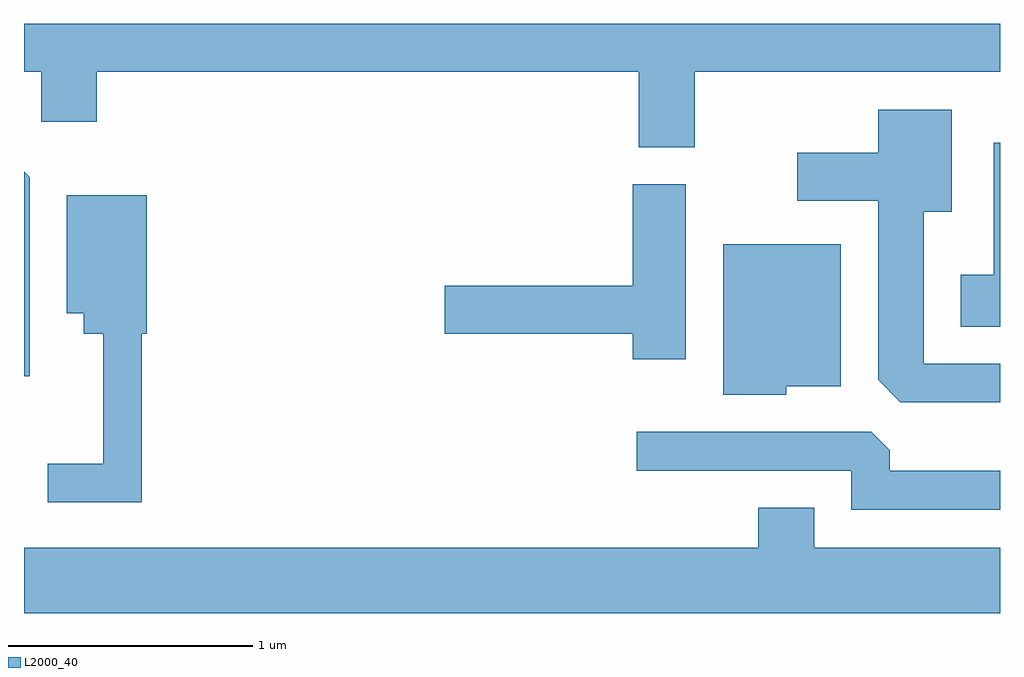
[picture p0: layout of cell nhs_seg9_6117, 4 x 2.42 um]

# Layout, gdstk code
import gdstk
lib = gdstk.Library(unit=1e-6, precision=1e-09)
def P(c, l, *ps):  # polygons
    for p in ps: c.add(gdstk.Polygon(p, *l))
L2000_40 = (2000, 40)

nhs_seg9_6117 = lib.new_cell('nhs_seg9_6117')
P(nhs_seg9_6117, L2000_40, [(368.359,2016.236),(369.611,2016.236),(369.611,2016.432),(365.611,2016.432),(365.611,2016.236),(365.681,2016.236),(365.681,2016.031),(365.909,2016.031),(365.909,2016.236),(368.131,2016.236),(368.131,2015.926),(368.359,2015.926)],
  [(369.611,2015.039),(369.299,2015.039),(369.299,2015.661),(369.414,2015.661),(369.414,2016.079),(369.111,2016.079),(369.111,2015.904),(368.781,2015.904),(368.781,2015.706),(369.111,2015.706),(369.111,2014.972),(369.202,2014.881),(369.611,2014.881)],
  [(369.611,2015.944),(369.586,2015.944),(369.586,2015.404),(369.451,2015.404),(369.451,2015.191),(369.611,2015.191)],
  [(365.634,2015.802),(365.611,2015.825),(365.611,2014.988),(365.634,2014.988)],
  [(368.324,2015.774),(368.106,2015.774),(368.106,2015.359),(367.336,2015.359),(367.336,2015.161),(368.106,2015.161),(368.106,2015.056),(368.324,2015.056)],
  [(366.094,2015.161),(366.114,2015.161),(366.114,2015.729),(365.786,2015.729),(365.786,2015.246),(365.856,2015.246),(365.856,2015.161),(365.936,2015.161),(365.936,2014.629),(365.708,2014.629),(365.708,2014.471),(366.094,2014.471)],
  [(368.734,2014.946),(368.959,2014.946),(368.959,2015.529),(368.476,2015.529),(368.476,2014.911),(368.734,2014.911)],
  [(369.611,2014.599),(369.159,2014.599),(369.159,2014.684),(369.084,2014.759),(368.123,2014.759),(368.123,2014.601),(369.001,2014.601),(369.001,2014.441),(369.611,2014.441)],
  [(369.611,2014.284),(368.849,2014.284),(368.849,2014.449),(368.621,2014.449),(368.621,2014.284),(365.611,2014.284),(365.611,2014.016),(369.611,2014.016)])

lib.write_gds('nhs_seg9_6117.gds')
